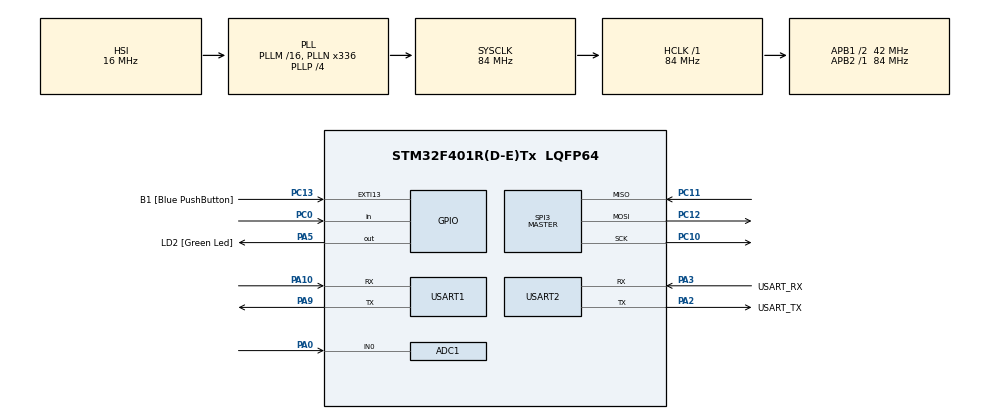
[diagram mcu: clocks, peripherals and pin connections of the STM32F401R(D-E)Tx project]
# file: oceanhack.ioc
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ADC1.Channel-0\#ChannelRegularConversion=ADC_CHANNEL_0
ADC1.NbrOfConversionFlag=1
ADC1.Rank-0\#ChannelRegularConversion=1
ADC1.SamplingTime-0\#ChannelRegularConversion=ADC_SAMPLETIME_3CYCLES
ADC1.master=1
Mcu.Family=STM32F4
Mcu.Name=STM32F401R(D-E)Tx
Mcu.Package=LQFP64
NVIC.PriorityGroup=NVIC_PRIORITYGROUP_0
NVIC.TIM3_IRQn=true\:0\:0\:false\:false\:true\:true\:true
PA0-WKUP.Signal=ADCx_IN0
PA10.Mode=Asynchronous
PA10.Signal=USART1_RX
PA13.GPIO_Label=TMS
PA13.Mode=Serial_Wire
PA13.Signal=SYS_JTMS-SWDIO
PA14.GPIO_Label=TCK
PA14.Mode=Serial_Wire
PA14.Signal=SYS_JTCK-SWCLK
PA2.GPIO_Label=USART_TX
PA2.GPIO_Mode=GPIO_MODE_AF_PP
PA2.GPIO_PuPd=GPIO_NOPULL
PA2.GPIO_Speed=GPIO_SPEED_FREQ_LOW
PA2.Mode=Asynchronous
PA2.Signal=USART2_TX
PA3.GPIO_Label=USART_RX
PA3.GPIO_Mode=GPIO_MODE_AF_PP
PA3.GPIO_PuPd=GPIO_NOPULL
PA3.GPIO_Speed=GPIO_SPEED_FREQ_LOW
PA3.Mode=Asynchronous
PA3.Signal=USART2_RX
PA5.GPIO_Label=LD2 [Green Led]
PA5.GPIO_Mode=GPIO_MODE_OUTPUT_PP
PA5.GPIO_PuPd=GPIO_NOPULL
PA5.GPIO_Speed=GPIO_SPEED_FREQ_LOW
PA5.Signal=GPIO_Output
PA9.Mode=Asynchronous
PA9.Signal=USART1_TX
PB3.GPIO_Label=SWO
PB3.Signal=SYS_JTDO-SWO
PC0.Signal=GPIO_Input
PC10.Mode=Full_Duplex_Master
PC10.Signal=SPI3_SCK
PC11.Mode=Full_Duplex_Master
PC11.Signal=SPI3_MISO
PC12.Mode=Full_Duplex_Master
PC12.Signal=SPI3_MOSI
PC13-ANTI_TAMP.GPIO_Label=B1 [Blue PushButton]
PC13-ANTI_TAMP.GPIO_ModeDefaultEXTI=GPIO_MODE_IT_FALLING
PC13-ANTI_TAMP.GPIO_PuPd=GPIO_NOPULL
PC13-ANTI_TAMP.Signal=GPXTI13
PC14-OSC32_IN.Mode=LSE-External-Oscillator
PC14-OSC32_IN.Signal=RCC_OSC32_IN
PC15-OSC32_OUT.Mode=LSE-External-Oscillator
PC15-OSC32_OUT.Signal=RCC_OSC32_OUT
PH0\ -\ OSC_IN.Mode=HSE-External-Clock-Source
PH0\ -\ OSC_IN.Signal=RCC_OSC_IN
PH1\ -\ OSC_OUT.Mode=HSE-External-Clock-Source
PH1\ -\ OSC_OUT.Signal=RCC_OSC_OUT
ProjectManager.HeapSize=0x200
ProjectManager.StackSize=0x400
ProjectManager.TargetToolchain=Makefile
RCC.48MHZClocksFreq_Value=48000000
RCC.AHBFreq_Value=84000000
RCC.APB1CLKDivider=RCC_HCLK_DIV2
RCC.APB1Freq_Value=42000000
RCC.APB1TimFreq_Value=84000000
RCC.APB2Freq_Value=84000000
RCC.APB2TimFreq_Value=84000000
RCC.CortexFreq_Value=84000000
RCC.HCLKFreq_Value=84000000
RCC.HSE_VALUE=8000000
RCC.HSI_VALUE=16000000
RCC.PLLN=336
RCC.PLLP=RCC_PLLP_DIV4
RCC.PLLQ=7
RCC.SYSCLKFreq_VALUE=84000000
RCC.SYSCLKSource=RCC_SYSCLKSOURCE_PLLCLK
RCC.VCOOutputFreq_Value=336000000
SH.ADCx_IN0.0=ADC1_IN0,IN0
SPI3.Direction=SPI_DIRECTION_2LINES
SPI3.Mode=SPI_MODE_MASTER
SPI3.VirtualType=VM_MASTER
TIM1.ClockDivision=TIM_CLOCKDIVISION_DIV4
TIM1.Prescaler=21000
TIM3.AutoReloadPreload=TIM_AUTORELOAD_PRELOAD_ENABLE
TIM3.ClockDivision=TIM_CLOCKDIVISION_DIV4
TIM3.Period=1000
TIM3.Prescaler=21000
USART1.VirtualMode=VM_ASYNC
USART2.VirtualMode=VM_ASYNC
VP_TIM1_VS_ClockSourceINT.Mode=Internal
VP_TIM3_VS_ClockSourceINT.Mode=Internal
board=NUCLEO-F401RE

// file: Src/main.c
/* USER CODE BEGIN Header */
/**
  ******************************************************************************
  * @file           : main.c
  * @brief          : Main program body
  ******************************************************************************
  * @attention
  *
  * <h2><center>&copy; Copyright (c) 2019 STMicroelectronics.
  * All rights reserved.</center></h2>
  *
  * This software component is licensed by ST under BSD 3-Clause license,
  * the "License"; You may not use this file except in compliance with the
  * License. You may obtain a copy of the License at:
  *                        opensource.org/licenses/BSD-3-Clause
  *
  ******************************************************************************
  */
/* USER CODE END Header */

#include "main.h"

/* USER CODE BEGIN Includes */
#include <stdio.h>
#include <string.h>
#include <stdarg.h>
/* USER CODE END Includes */

ADC_HandleTypeDef hadc1;

SPI_HandleTypeDef hspi3;

TIM_HandleTypeDef htim1;
TIM_HandleTypeDef htim3;

UART_HandleTypeDef huart1;
UART_HandleTypeDef huart2;

/* USER CODE BEGIN PV */
static int toggle = 0;
/* USER CODE END PV */

void SystemClock_Config(void);
static void MX_GPIO_Init(void);
static void MX_USART2_UART_Init(void);
static void MX_ADC1_Init(void);
static void MX_SPI3_Init(void);
static void MX_USART1_UART_Init(void);
static void MX_TIM1_Init(void);
static void MX_TIM3_Init(void);

/* USER CODE BEGIN 0 */
static void turn_on_led(void)
{
	HAL_GPIO_WritePin(LD2_GPIO_Port, LD2_Pin, GPIO_PIN_RESET);
}

static void turn_off_led(void)
{
	HAL_GPIO_WritePin(LD2_GPIO_Port, LD2_Pin, GPIO_PIN_SET);
}

#define N_SAMPLES 10000
#define MA_SAMPLES 2048
static int ma_samples[MA_SAMPLES];
static int ma_index = 0;
static int ma_sum = 0;

static void put_sample(int sample)
{
	ma_sum -= ma_samples[ma_index % MA_SAMPLES];
	ma_samples[ma_index % MA_SAMPLES] = sample;
	ma_sum += ma_samples[ma_index % MA_SAMPLES];
	ma_index++;
}

static int get_average_sample(void)
{
	return ma_sum / MA_SAMPLES;
}

/* USER CODE END 0 */

int main(void)
{

  /* MCU Configuration--------------------------------------------------------*/

  /* Reset of all peripherals, Initializes the Flash interface and the Systick. */
  HAL_Init();

  /* Configure the system clock */
  SystemClock_Config();

  /* Initialize all configured peripherals */
  MX_GPIO_Init();
  MX_USART2_UART_Init();
  MX_ADC1_Init();
  MX_SPI3_Init();
  MX_USART1_UART_Init();
  MX_TIM1_Init();
  MX_TIM3_Init();
  /* USER CODE BEGIN 2 */

  HAL_TIM_Base_Start_IT(&htim3);
  /* USER CODE END 2 */

  /* Infinite loop */
  /* USER CODE BEGIN WHILE */

  static int pin_level = 0;
  static int tick_count = 0;
  static int sample_count = 0;

  while (1)
  {
    /* USER CODE END WHILE */

    /* USER CODE BEGIN 3 */
	  tick_count++;
	  if (pin_level) {
		  sample_count++;
		  turn_on_led();
		  if (HAL_GPIO_ReadPin(GPIOC, GPIO_PIN_0) == GPIO_PIN_RESET)
			  pin_level = 0;
	  } else {
		  turn_off_led();
		  if (HAL_GPIO_ReadPin(GPIOC, GPIO_PIN_0) == GPIO_PIN_SET)
			  pin_level = 1;
	  }

	  if (tick_count == N_SAMPLES) {
		  put_sample(tick_count - sample_count);
		  tick_count = 0;
		  sample_count = 0;
	  }
  }
  /* USER CODE END 3 */
}

void SystemClock_Config(void)
{
  RCC_OscInitTypeDef RCC_OscInitStruct = {0};
  RCC_ClkInitTypeDef RCC_ClkInitStruct = {0};

  /** Configure the main internal regulator output voltage
  */
  __HAL_RCC_PWR_CLK_ENABLE();
  __HAL_PWR_VOLTAGESCALING_CONFIG(PWR_REGULATOR_VOLTAGE_SCALE2);
  /** Initializes the CPU, AHB and APB busses clocks
  */
  RCC_OscInitStruct.OscillatorType = RCC_OSCILLATORTYPE_HSI;
  RCC_OscInitStruct.HSIState = RCC_HSI_ON;
  RCC_OscInitStruct.HSICalibrationValue = RCC_HSICALIBRATION_DEFAULT;
  RCC_OscInitStruct.PLL.PLLState = RCC_PLL_ON;
  RCC_OscInitStruct.PLL.PLLSource = RCC_PLLSOURCE_HSI;
  RCC_OscInitStruct.PLL.PLLM = 16;
  RCC_OscInitStruct.PLL.PLLN = 336;
  RCC_OscInitStruct.PLL.PLLP = RCC_PLLP_DIV4;
  RCC_OscInitStruct.PLL.PLLQ = 7;
  if (HAL_RCC_OscConfig(&RCC_OscInitStruct) != HAL_OK)
  {
    Error_Handler();
  }
  /** Initializes the CPU, AHB and APB busses clocks
  */
  RCC_ClkInitStruct.ClockType = RCC_CLOCKTYPE_HCLK|RCC_CLOCKTYPE_SYSCLK
                              |RCC_CLOCKTYPE_PCLK1|RCC_CLOCKTYPE_PCLK2;
  RCC_ClkInitStruct.SYSCLKSource = RCC_SYSCLKSOURCE_PLLCLK;
  RCC_ClkInitStruct.AHBCLKDivider = RCC_SYSCLK_DIV1;
  RCC_ClkInitStruct.APB1CLKDivider = RCC_HCLK_DIV2;
  RCC_ClkInitStruct.APB2CLKDivider = RCC_HCLK_DIV1;

  if (HAL_RCC_ClockConfig(&RCC_ClkInitStruct, FLASH_LATENCY_2) != HAL_OK)
  {
    Error_Handler();
  }
}

static void MX_ADC1_Init(void)
{

  ADC_ChannelConfTypeDef sConfig = {0};

  /** Configure the global features of the ADC (Clock, Resolution, Data Alignment and number of conversion)
  */
  hadc1.Instance = ADC1;
  hadc1.Init.ClockPrescaler = ADC_CLOCK_SYNC_PCLK_DIV4;
  hadc1.Init.Resolution = ADC_RESOLUTION_12B;
  hadc1.Init.ScanConvMode = DISABLE;
  hadc1.Init.ContinuousConvMode = DISABLE;
  hadc1.Init.DiscontinuousConvMode = DISABLE;
  hadc1.Init.ExternalTrigConvEdge = ADC_EXTERNALTRIGCONVEDGE_NONE;
  hadc1.Init.ExternalTrigConv = ADC_SOFTWARE_START;
  hadc1.Init.DataAlign = ADC_DATAALIGN_RIGHT;
  hadc1.Init.NbrOfConversion = 1;
  hadc1.Init.DMAContinuousRequests = DISABLE;
  hadc1.Init.EOCSelection = ADC_EOC_SINGLE_CONV;
  if (HAL_ADC_Init(&hadc1) != HAL_OK)
  {
    Error_Handler();
  }
  /** Configure for the selected ADC regular channel its corresponding rank in the sequencer and its sample time.
  */
  sConfig.Channel = ADC_CHANNEL_0;
  sConfig.Rank = 1;
  sConfig.SamplingTime = ADC_SAMPLETIME_3CYCLES;
  if (HAL_ADC_ConfigChannel(&hadc1, &sConfig) != HAL_OK)
  {
    Error_Handler();
  }

}

static void MX_SPI3_Init(void)
{

  /* SPI3 parameter configuration*/
  hspi3.Instance = SPI3;
  hspi3.Init.Mode = SPI_MODE_MASTER;
  hspi3.Init.Direction = SPI_DIRECTION_2LINES;
  hspi3.Init.DataSize = SPI_DATASIZE_8BIT;
  hspi3.Init.CLKPolarity = SPI_POLARITY_LOW;
  hspi3.Init.CLKPhase = SPI_PHASE_1EDGE;
  hspi3.Init.NSS = SPI_NSS_SOFT;
  hspi3.Init.BaudRatePrescaler = SPI_BAUDRATEPRESCALER_2;
  hspi3.Init.FirstBit = SPI_FIRSTBIT_MSB;
  hspi3.Init.TIMode = SPI_TIMODE_DISABLE;
  hspi3.Init.CRCCalculation = SPI_CRCCALCULATION_DISABLE;
  hspi3.Init.CRCPolynomial = 10;
  if (HAL_SPI_Init(&hspi3) != HAL_OK)
  {
    Error_Handler();
  }

}

static void MX_TIM1_Init(void)
{

  TIM_ClockConfigTypeDef sClockSourceConfig = {0};
  TIM_MasterConfigTypeDef sMasterConfig = {0};

  htim1.Instance = TIM1;
  htim1.Init.Prescaler = 21000;
  htim1.Init.CounterMode = TIM_COUNTERMODE_UP;
  htim1.Init.Period = 0;
  htim1.Init.ClockDivision = TIM_CLOCKDIVISION_DIV4;
  htim1.Init.RepetitionCounter = 0;
  htim1.Init.AutoReloadPreload = TIM_AUTORELOAD_PRELOAD_DISABLE;
  if (HAL_TIM_Base_Init(&htim1) != HAL_OK)
  {
    Error_Handler();
  }
  sClockSourceConfig.ClockSource = TIM_CLOCKSOURCE_INTERNAL;
  if (HAL_TIM_ConfigClockSource(&htim1, &sClockSourceConfig) != HAL_OK)
  {
    Error_Handler();
  }
  sMasterConfig.MasterOutputTrigger = TIM_TRGO_RESET;
  sMasterConfig.MasterSlaveMode = TIM_MASTERSLAVEMODE_DISABLE;
  if (HAL_TIMEx_MasterConfigSynchronization(&htim1, &sMasterConfig) != HAL_OK)
  {
    Error_Handler();
  }

}

static void MX_TIM3_Init(void)
{

  TIM_ClockConfigTypeDef sClockSourceConfig = {0};
  TIM_MasterConfigTypeDef sMasterConfig = {0};

  htim3.Instance = TIM3;
  htim3.Init.Prescaler = 21000;
  htim3.Init.CounterMode = TIM_COUNTERMODE_UP;
  htim3.Init.Period = 4000;
  htim3.Init.ClockDivision = TIM_CLOCKDIVISION_DIV4;
  htim3.Init.AutoReloadPreload = TIM_AUTORELOAD_PRELOAD_ENABLE;
  if (HAL_TIM_Base_Init(&htim3) != HAL_OK)
  {
    Error_Handler();
  }
  sClockSourceConfig.ClockSource = TIM_CLOCKSOURCE_INTERNAL;
  if (HAL_TIM_ConfigClockSource(&htim3, &sClockSourceConfig) != HAL_OK)
  {
    Error_Handler();
  }
  sMasterConfig.MasterOutputTrigger = TIM_TRGO_RESET;
  sMasterConfig.MasterSlaveMode = TIM_MASTERSLAVEMODE_DISABLE;
  if (HAL_TIMEx_MasterConfigSynchronization(&htim3, &sMasterConfig) != HAL_OK)
  {
    Error_Handler();
  }

}

static void MX_USART1_UART_Init(void)
{

  huart1.Instance = USART1;
  huart1.Init.BaudRate = 115200;
  huart1.Init.WordLength = UART_WORDLENGTH_8B;
  huart1.Init.StopBits = UART_STOPBITS_1;
  huart1.Init.Parity = UART_PARITY_NONE;
  huart1.Init.Mode = UART_MODE_TX_RX;
  huart1.Init.HwFlowCtl = UART_HWCONTROL_NONE;
  huart1.Init.OverSampling = UART_OVERSAMPLING_16;
  if (HAL_UART_Init(&huart1) != HAL_OK)
  {
    Error_Handler();
  }

}

static void MX_USART2_UART_Init(void)
{

  huart2.Instance = USART2;
  huart2.Init.BaudRate = 115200;
  huart2.Init.WordLength = UART_WORDLENGTH_8B;
  huart2.Init.StopBits = UART_STOPBITS_1;
  huart2.Init.Parity = UART_PARITY_NONE;
  huart2.Init.Mode = UART_MODE_TX_RX;
  huart2.Init.HwFlowCtl = UART_HWCONTROL_NONE;
  huart2.Init.OverSampling = UART_OVERSAMPLING_16;
  if (HAL_UART_Init(&huart2) != HAL_OK)
  {
    Error_Handler();
  }

}

static void MX_GPIO_Init(void)
{
  GPIO_InitTypeDef GPIO_InitStruct = {0};

  /* GPIO Ports Clock Enable */
  __HAL_RCC_GPIOC_CLK_ENABLE();
  __HAL_RCC_GPIOH_CLK_ENABLE();
  __HAL_RCC_GPIOA_CLK_ENABLE();
  __HAL_RCC_GPIOB_CLK_ENABLE();

  /*Configure GPIO pin Output Level */
  HAL_GPIO_WritePin(LD2_GPIO_Port, LD2_Pin, GPIO_PIN_RESET);

  /*Configure GPIO pin : B1_Pin */
  GPIO_InitStruct.Pin = B1_Pin;
  GPIO_InitStruct.Mode = GPIO_MODE_IT_FALLING;
  GPIO_InitStruct.Pull = GPIO_NOPULL;
  HAL_GPIO_Init(B1_GPIO_Port, &GPIO_InitStruct);

  /*Configure GPIO pin : PC0 */
  GPIO_InitStruct.Pin = GPIO_PIN_0;
  GPIO_InitStruct.Mode = GPIO_MODE_INPUT;
  GPIO_InitStruct.Pull = GPIO_NOPULL;
  HAL_GPIO_Init(GPIOC, &GPIO_InitStruct);

  /*Configure GPIO pin : LD2_Pin */
  GPIO_InitStruct.Pin = LD2_Pin;
  GPIO_InitStruct.Mode = GPIO_MODE_OUTPUT_PP;
  GPIO_InitStruct.Pull = GPIO_NOPULL;
  GPIO_InitStruct.Speed = GPIO_SPEED_FREQ_LOW;
  HAL_GPIO_Init(LD2_GPIO_Port, &GPIO_InitStruct);

}

/* USER CODE BEGIN 4 */
void HAL_TIM_PeriodElapsedCallback(TIM_HandleTypeDef *htim)
{
	char sample_buf[64];

	if (htim->Instance == htim3.Instance)
	{
		int sample = get_average_sample();
		float ratio = 100. * sample / N_SAMPLES;
		float ratio_2, ratio_3;
		float concentration;

		ratio_2 = ratio * ratio;
		ratio_3 = ratio_2 * ratio;
		concentration = 1.1 * ratio_3 - 3.8 * ratio_2 + 520 * ratio + 0.62;

		sprintf(sample_buf, "%d\n", (int) concentration);
		HAL_UART_Transmit(&huart2, sample_buf, strlen(sample_buf), HAL_MAX_DELAY);
	}
}
/* USER CODE END 4 */

void Error_Handler(void)
{
}

/************************ (C) COPYRIGHT STMicroelectronics *****END OF FILE****/
